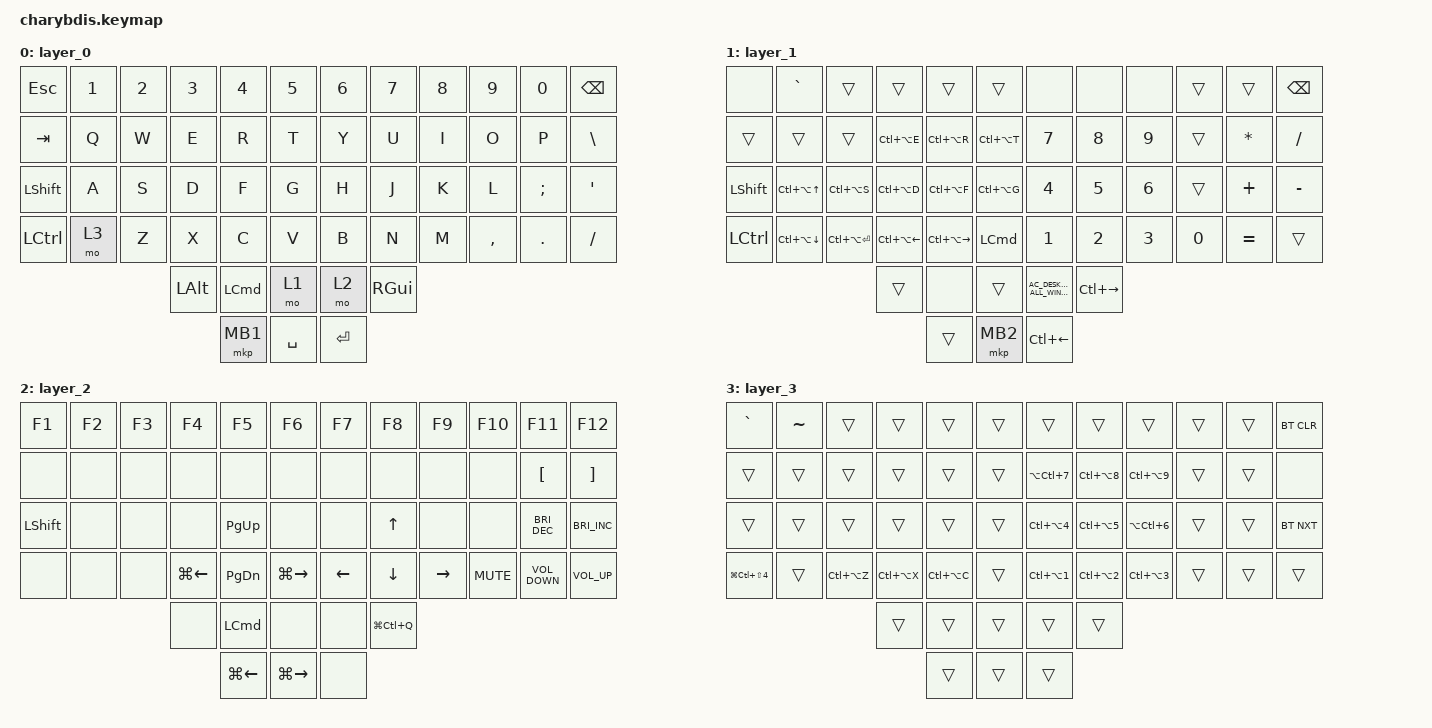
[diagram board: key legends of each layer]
#include <dt-bindings/zmk/mouse.h>
#include <behaviors.dtsi>
#include <dt-bindings/zmk/bt.h>
#include <dt-bindings/zmk/keys.h>
#include <dt-bindings/zmk/pointing.h>

&mt {
    tapping-term-ms = <200>;
    flavor = "balanced";
    quick-tap-ms = <150>;
};

&tsl {
    scale_factor = <7>;   // 낮을수록 스크롤 민감 (포크 기본값 10)
};


/ {
    keymap {
        compatible = "zmk,keymap";

        layer_0 {
            bindings = <
&kp ESC         &kp NUMBER_1  &kp NUMBER_2  &kp NUMBER_3  &kp NUMBER_4      &kp N5       &kp NUMBER_6  &kp N7         &kp N8  &kp N9     &kp N0    &kp BACKSPACE
&kp TAB         &kp Q         &kp W         &kp E         &kp R             &kp T        &kp Y         &kp U          &kp I   &kp O      &kp P     &kp BSLH
&kp LEFT_SHIFT  &kp A         &kp S         &kp D         &kp F             &kp G        &kp H         &kp J          &kp K   &kp L      &kp SEMI  &kp SQT
&kp LCTRL       &mo 3         &kp Z         &kp X         &kp C             &kp V        &kp B         &kp N          &kp M   &kp COMMA  &kp DOT   &kp FSLH
                                            &kp LEFT_ALT  &kp LEFT_COMMAND  &mo 1        &mo 2         &kp RIGHT_GUI
                                                          &mkp MB1          &kp SPACE    &kp ENTER
            >;

            trackball-bindings = <&tmv_coarse>;
        };

        layer_1 {
            bindings = <
&none           &kp GRAVE               &trans             &trans                  &trans                   &trans              &none                              &none                &none         &trans  &trans        &kp BACKSPACE
&trans          &trans                  &trans             &kp LC(LA(E))           &kp LC(LA(R))            &kp LC(LA(T))       &kp N7                             &kp N8               &kp N9        &trans  &kp ASTERISK  &kp SLASH
&kp LEFT_SHIFT  &kp LC(LA(UP_ARROW))    &kp LC(LA(S))      &kp LC(LA(D))           &kp LC(LA(F))            &kp LC(LA(G))       &kp NUMBER_4                       &kp N5               &kp NUMBER_6  &trans  &kp PLUS      &kp MINUS
&kp LCTRL       &kp LC(LA(DOWN_ARROW))  &kp LC(LA(ENTER))  &kp LC(LA(LEFT_ARROW))  &kp LC(LA(RIGHT_ARROW))  &kp LEFT_COMMAND    &kp NUMBER_1                       &kp NUMBER_2         &kp NUMBER_3  &kp N0  &kp EQUAL     &trans
                                                           &trans                  &none                    &trans              &kp C_AC_DESKTOP_SHOW_ALL_WINDOWS  &kp LC(RIGHT_ARROW)
                                                                                   &trans                   &mkp MB2            &kp LC(LEFT_ARROW)
            >;

            trackball-bindings = <&tsl>;
        };

        layer_2 {
            bindings = <
&kp F1          &kp F2  &kp F3  &kp F4              &kp F5              &kp F6                 &kp F7          &kp F8          &kp F9           &kp F10     &kp F11               &kp F12
&none           &none   &none   &none               &none               &none                  &none           &none           &none            &none       &kp LEFT_BRACKET      &kp RIGHT_BRACKET
&kp LEFT_SHIFT  &none   &none   &none               &kp PAGE_UP         &none                  &none           &kp UP_ARROW    &none            &none       &kp C_BRIGHTNESS_DEC  &kp C_BRIGHTNESS_INC
&none           &none   &none   &kp LG(LEFT_ARROW)  &kp PAGE_DOWN       &kp LG(RIGHT)          &kp LEFT_ARROW  &kp DOWN_ARROW  &kp RIGHT_ARROW  &kp C_MUTE  &kp C_VOLUME_DOWN     &kp C_VOLUME_UP
                                &none               &kp LEFT_COMMAND    &none                  &none           &kp LG(LC(Q))
                                                    &kp LG(LEFT_ARROW)  &kp LG(RIGHT_ARROW)    &none
            >;

            trackball-bindings = <&tsl>;
        };

        layer_3 {
            bindings = <
&kp GRAVE                 &kp TILDE  &trans         &trans         &trans         &trans    &trans                &trans                &trans                &trans  &trans  &bt BT_CLR
&trans                    &trans     &trans         &trans         &trans         &trans    &kp LA(LC(NUMBER_7))  &kp LC(LA(N8))        &kp LC(LA(N9))        &trans  &trans  &none
&trans                    &trans     &trans         &trans         &trans         &trans    &kp LC(LA(NUMBER_4))  &kp LC(LA(N5))        &kp LA(LC(NUMBER_6))  &trans  &trans  &bt BT_NXT
&kp LG(LC(LS(NUMBER_4)))  &trans     &kp LC(LA(Z))  &kp LC(LA(X))  &kp LC(LA(C))  &trans    &kp LC(LA(NUMBER_1))  &kp LC(LA(NUMBER_2))  &kp LC(LA(NUMBER_3))  &trans  &trans  &trans
                                                    &trans         &trans         &trans    &trans                &trans
                                                                   &trans         &trans    &trans
            >;
        };
    };
};
